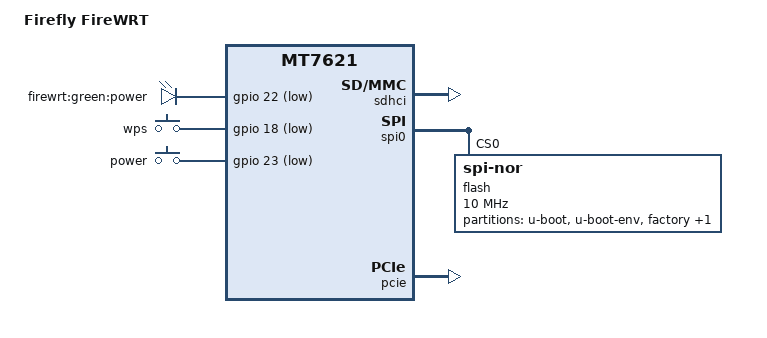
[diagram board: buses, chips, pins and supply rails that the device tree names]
/dts-v1/;

#include "mt7621.dtsi"

#include <dt-bindings/gpio/gpio.h>
#include <dt-bindings/input/input.h>

/ {
	compatible = "firefly,firewrt", "mediatek,mt7621-soc";
	model = "Firefly FireWRT";

	aliases {
		led-boot = &led_power;
		led-failsafe = &led_power;
		led-running = &led_power;
		led-upgrade = &led_power;
	};

	chosen {
		bootargs = "console=ttyS0,57600";
	};

	leds {
		compatible = "gpio-leds";

		led_power: power {
			label = "firewrt:green:power";
			gpios = <&gpio 22 GPIO_ACTIVE_LOW>;
		};
	};

	keys {
		compatible = "gpio-keys";

		wps {
			label = "wps";
			gpios = <&gpio 18 GPIO_ACTIVE_LOW>;
			linux,code = <KEY_WPS_BUTTON>;
		};

		power {
			label = "power";
			gpios = <&gpio 23 GPIO_ACTIVE_LOW>;
			linux,code = <KEY_POWER>;
		};
	};
};

&sdhci {
	status = "okay";
};

&spi0 {
	status = "okay";

	flash@0 {
		compatible = "jedec,spi-nor";
		reg = <0>;
		spi-max-frequency = <10000000>;

		partitions {
			compatible = "fixed-partitions";
			#address-cells = <1>;
			#size-cells = <1>;

			partition@0 {
				label = "u-boot";
				reg = <0x0 0x30000>;
				read-only;
			};

			partition@30000 {
				label = "u-boot-env";
				reg = <0x30000 0x10000>;
				read-only;
			};

			factory: partition@40000 {
				label = "factory";
				reg = <0x40000 0x10000>;
				read-only;
			};

			partition@50000 {
				compatible = "denx,uimage";
				label = "firmware";
				reg = <0x50000 0xfb0000>;
			};
		};
	};
};

&pcie {
	status = "okay";
};

&pcie0 {
	mt76@0,0 {
		reg = <0x0000 0 0 0 0>;
		mediatek,mtd-eeprom = <&factory 0x8000>;
		ieee80211-freq-limit = <5000000 6000000>;
	};
};

&pcie1 {
	mt76@0,0 {
		reg = <0x0000 0 0 0 0>;
		mediatek,mtd-eeprom = <&factory 0x0000>;
		ieee80211-freq-limit = <2400000 2500000>;
	};
};

&gmac0 {
	mtd-mac-address = <&factory 0xe000>;
};

&switch0 {
	ports {
		port@0 {
			status = "okay";
			label = "lan1";
		};

		port@1 {
			status = "okay";
			label = "lan2";
		};

		port@2 {
			status = "okay";
			label = "lan3";
		};

		port@3 {
			status = "okay";
			label = "lan4";
		};

		port@4 {
			status = "okay";
			label = "wan";
			mtd-mac-address = <&factory 0xe000>;
			mtd-mac-address-increment = <1>;
		};
	};
};

&state_default {
	gpio {
		groups = "wdt", "rgmii2";
		function = "gpio";
	};
};
